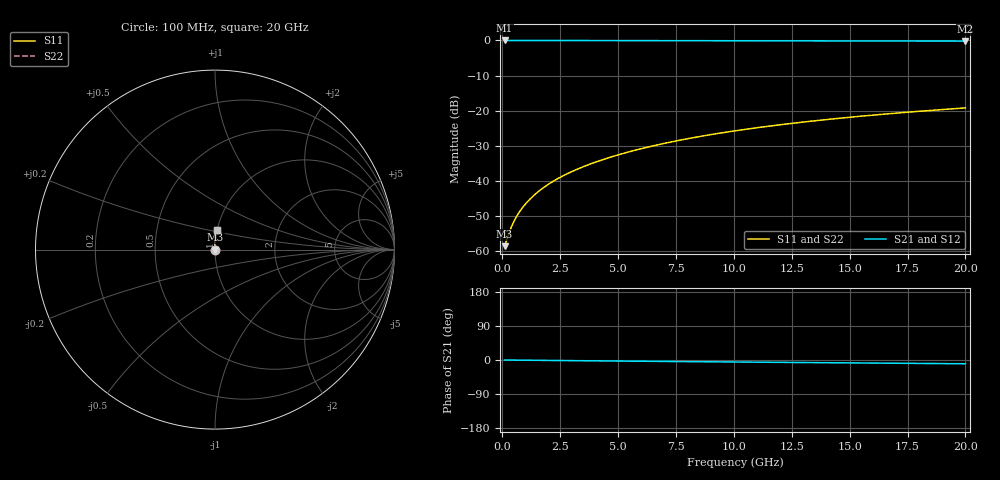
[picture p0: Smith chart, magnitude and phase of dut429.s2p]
! Touchstone file exported from HFSS 2024.1.0
!  File:  C:/UserFiles/LocalFiles/RDL_TSV_Batchsim/temp_RDL_bottom_429_1779684081.aedt
!  Generated:  12:44:01 PM May 25, 2026
!  Design:  RDL_bottom
!  Project:  temp_RDL_bottom_429_1779684081
!  Setup:  Setup1
!  Solution:  Sweep
! Variables:
!  dtsv = 10.80580581um
!  hbump = 3um
!  htsv = 77.13um
!  ldown = 109.1um
!  lrdl = 100um
!  p = 40
!  p1 = 50.82um
!  rhole = 1um
!  t = 450um
!  tdown = 2.22um
!  trdl = 3.915915916um
!  wdown = 28.51um
!  wrdl = 20um
# GHz S MA R 50.000000
! Terminal data exported
! Port[1] = RDL1_T1
! Port[2] = RDL1_T2
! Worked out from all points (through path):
!   200 points, 100 MHz to 20 GHz, reference 50 ohm
!   highest |S21| = -0.01 dB at 100 MHz (marker M1); lowest = -0.2 dB at 20 GHz (marker M2)
!   group delay of S21, straight-line fit = 1.36 ps
!   lowest |S11| = -58.7 dB at 100 MHz (marker M3), VSWR 1.00, Z = 50.1 + j0.0496 ohm
!   |S11| at or under -10 dB: start of sweep to end of sweep
!   |S22| runs from -58.7 to -19.2 dB; largest |S21 - S12| = 3.5e-15
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0.1  0.001168 25.1  0.9989 -0.1  0.9989 -0.1  0.001168 25.1
! Gamma 0 0 0 0
! Port Impedance 50 0 50 0
0.3  0.001829 52.4  0.9989 -0.2  0.9989 -0.2  0.001829 52.4
0.4  0.002223 58.8  0.9988 -0.2  0.9988 -0.2  0.002223 58.8
0.6  0.003027 66.7  0.9987 -0.4  0.9987 -0.4  0.003027 66.7
0.7  0.003432 69.4  0.9986 -0.4  0.9986 -0.4  0.003432 69.4
0.9  0.004249 73.4  0.9985 -0.5  0.9985 -0.5  0.004249 73.4
1.2  0.005494 77.6  0.9984 -0.7  0.9984 -0.7  0.005494 77.6
1.4  0.006339 79.7  0.9983 -0.8  0.9983 -0.8  0.006339 79.7
1.7  0.007628 82.1  0.9981 -1.0  0.9981 -1.0  0.007628 82.1
2.2  0.009831 84.9  0.9977 -1.3  0.9977 -1.3  0.009831 84.9
2.8  0.01256 87.3  0.9972 -1.6  0.9972 -1.6  0.01256 87.3
3.5  0.01587 89.1  0.9965 -2.0  0.9965 -2.0  0.01587 89.1
4.2  0.0193 90.4  0.9958 -2.4  0.9958 -2.4  0.0193 90.4
5  0.02336 91.3  0.9948 -2.8  0.9948 -2.8  0.02336 91.3
5.9  0.02811 92.0  0.9937 -3.2  0.9937 -3.2  0.0281 92.0
6.8  0.033 92.2  0.9925 -3.7  0.9925 -3.7  0.033 92.2
8.4  0.04197 92.1  0.9905 -4.5  0.9905 -4.5  0.04197 92.1
10.1  0.05174 91.4  0.9884 -5.3  0.9884 -5.3  0.05174 91.4
11.7  0.06105 90.6  0.9866 -6.1  0.9866 -6.1  0.06105 90.6
13.4  0.07098 89.5  0.9847 -6.9  0.9847 -6.9  0.07098 89.5
16.7  0.09019 87.4  0.9812 -8.4  0.9812 -8.4  0.09019 87.4
20  0.1092 85.3  0.9778 -9.9  0.9778 -9.9  0.1092 85.3
